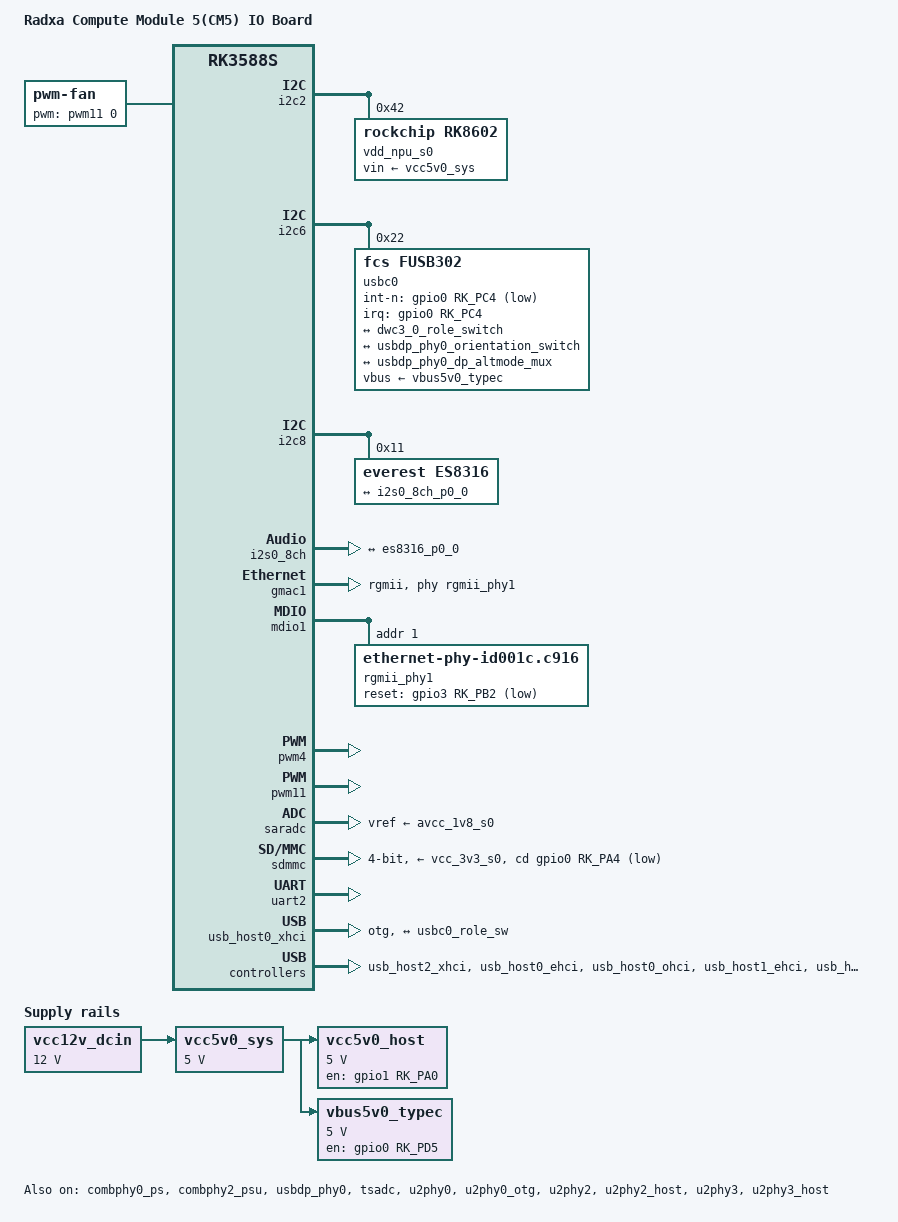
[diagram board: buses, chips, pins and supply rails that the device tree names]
// SPDX-License-Identifier: (GPL-2.0+ OR MIT)

/dts-v1/;

#include <dt-bindings/gpio/gpio.h>
#include <dt-bindings/leds/common.h>
#include <dt-bindings/pinctrl/rockchip.h>
#include "dt-bindings/usb/pd.h"
#include "rk3588s-radxa-cm5.dtsi"

/ {
	model = "Radxa Compute Module 5(CM5) IO Board";
	compatible = "radxa,cm5-io", "radxa,cm5", "rockchip,rk3588s";

	aliases {
		ethernet0 = &gmac1;
		mmc0 = &sdmmc;
		mmc1 = &sdhci;
		mmc2 = &sdio;
	};

	analog-sound {
		compatible = "audio-graph-card";
		label = "rk3588-es8316";

		widgets = "Microphone", "Mic Jack",
			  "Headphone", "Headphones";

		routing = "MIC2", "Mic Jack",
			  "Headphones", "HPOL",
			  "Headphones", "HPOR";

		dais = <&i2s0_8ch_p0>;
	};

	chosen {
		stdout-path = "serial2:1500000n8";
	};



	fan: pwm-fan {
		compatible = "pwm-fan";
		cooling-levels = <0 64 128 192 255>;
		pwms = <&pwm11 0 60000 0>;
		#cooling-cells = <2>;
	};

	vcc12v_dcin: vcc12v-dcin-regulator {
		compatible = "regulator-fixed";
		regulator-name = "vcc12v_dcin";
		regulator-always-on;
		regulator-boot-on;
		regulator-min-microvolt = <12000000>;
		regulator-max-microvolt = <12000000>;
	};

	vcc5v0_host: vcc5v0-host-regulator {
		compatible = "regulator-fixed";
		regulator-name = "vcc5v0_host";
		regulator-boot-on;
		regulator-always-on;
		regulator-min-microvolt = <5000000>;
		regulator-max-microvolt = <5000000>;
		enable-active-high;
		gpio = <&gpio1 RK_PA0 GPIO_ACTIVE_HIGH>;
		pinctrl-names = "default";
		pinctrl-0 = <&vcc5v0_usb_host_pwren>;
		vin-supply = <&vcc5v0_sys>;
	};

	vbus5v0_typec: vbus5v0-typec {
		compatible = "regulator-fixed";
		regulator-name = "vbus5v0_typec";
		regulator-boot-on;
		regulator-always-on;
		regulator-min-microvolt = <5000000>;
		regulator-max-microvolt = <5000000>;
		enable-active-high;
		gpio = <&gpio0 RK_PD5 GPIO_ACTIVE_HIGH>;
		pinctrl-names = "default";
		pinctrl-0 = <&vbus5v0_typec_en>;
		vin-supply = <&vcc5v0_sys>;
	};

	vcc5v0_sys: vcc5v0-sys-regulator {
		compatible = "regulator-fixed";
		regulator-name = "vcc5v0_sys";
		regulator-always-on;
		regulator-boot-on;
		regulator-min-microvolt = <5000000>;
		regulator-max-microvolt = <5000000>;
		vin-supply = <&vcc12v_dcin>;
	};


};

&combphy0_ps {
	status = "okay";
};

&combphy2_psu {
	status = "okay";
};


&i2c2 {
	status = "okay";
	vdd_npu_s0: regulator@42 {
		compatible = "rockchip,rk8602";
		reg = <0x42>;
		fcs,suspend-voltage-selector = <1>;
		regulator-name = "vdd_npu_s0";
		regulator-always-on;
		regulator-boot-on;
		regulator-min-microvolt = <550000>;
		regulator-max-microvolt = <950000>;
		regulator-ramp-delay = <2300>;
		vin-supply = <&vcc5v0_sys>;

		regulator-state-mem {
			regulator-off-in-suspend;
		};
	};
};


&i2c6 {
	status = "okay";
	pinctrl-names = "default";
	pinctrl-0 = <&i2c6m3_xfer>;

	usbc0: fusb302@22 {
		compatible = "fcs,fusb302";
		reg = <0x22>;
		interrupt-parent = <&gpio0>;
		interrupts = <RK_PC4 IRQ_TYPE_LEVEL_LOW>;
		int-n-gpios = <&gpio0 RK_PC4 GPIO_ACTIVE_LOW>;
		pinctrl-names = "default";
		pinctrl-0 = <&usbc0_int>;
		vbus-supply = <&vbus5v0_typec>;
		status = "okay";

		ports {
			#address-cells = <1>;
			#size-cells = <0>;
			port@0 {
			reg = <0>;
			usbc0_role_sw: endpoint@0 {
				remote-endpoint = <&dwc3_0_role_switch>;
				};
			};
		};

		usb_con: connector {
			compatible = "usb-c-connector";
			label = "USB-C";
			data-role = "dual";
			power-role = "dual";
			try-power-role = "sink";
			op-sink-microwatt = <1000000>;

			sink-pdos = <PDO_FIXED(5000, 1000, PDO_FIXED_USB_COMM)>;

			source-pdos = <PDO_FIXED(5000, 3000, PDO_FIXED_USB_COMM)>;

			altmodes {
				#address-cells = <1>;
				#size-cells = <0>;

				altmode@0 {
					reg = <0>;
					svid = <0xff01>;
					vdo = <0xffffffff>;
				};
			};

			ports {
				#address-cells = <1>;
				#size-cells = <0>;

				port@0 {
					reg = <0>;
					usbc0_orien_sw: endpoint {
						remote-endpoint = <&usbdp_phy0_orientation_switch>;
					};
				};

				port@1 {
					reg = <1>;
					dp_altmode_mux: endpoint {
						remote-endpoint = <&usbdp_phy0_dp_altmode_mux>;
					};
				};
			};
		};
	};
};

&usbdp_phy0 {
	status = "okay";
	orientation-switch;
	svid = <0xff01>;
	sbu1-dc-gpios = <&gpio3 RK_PC4 GPIO_ACTIVE_HIGH>;
	sbu2-dc-gpios = <&gpio3 RK_PD4 GPIO_ACTIVE_HIGH>;

	port {
		#address-cells = <1>;
		#size-cells = <0>;
		usbdp_phy0_orientation_switch: endpoint@0 {
			reg = <0>;
			remote-endpoint = <&usbc0_orien_sw>;
		};

		usbdp_phy0_dp_altmode_mux: endpoint@1 {
			reg = <1>;
			remote-endpoint = <&dp_altmode_mux>;
		};
	};
};




&i2c8 {
	status = "okay";
	pinctrl-0 = <&i2c8m2_xfer>;
	es8316: audio-codec@11 {
		compatible = "everest,es8316";
		reg = <0x11>;
		clocks = <&cru I2S0_8CH_MCLKOUT>;
		clock-names = "mclk";
		assigned-clocks = <&cru I2S0_8CH_MCLKOUT>;
		assigned-clock-rates = <12288000>;
		#sound-dai-cells = <0>;

		port {
			es8316_p0_0: endpoint {
				remote-endpoint = <&i2s0_8ch_p0_0>;
			};
		};
	};
};

&i2s0_8ch {
	pinctrl-names = "default";
	pinctrl-0 = <&i2s0_lrck
		     &i2s0_mclk
		     &i2s0_sclk
		     &i2s0_sdi0
		     &i2s0_sdo0>;
	status = "okay";

	i2s0_8ch_p0: port {
		i2s0_8ch_p0_0: endpoint {
			dai-format = "i2s";
			mclk-fs = <256>;
			remote-endpoint = <&es8316_p0_0>;
		};
	};
};

// TODO: What is this
&gmac1 {
	clock_in_out = "output";
	phy-handle = <&rgmii_phy1>;
	phy-mode = "rgmii";
	pinctrl-0 = <&gmac1_miim
		     &gmac1_tx_bus2
		     &gmac1_rx_bus2
		     &gmac1_rgmii_clk
		     &gmac1_rgmii_bus>;
	pinctrl-names = "default";
	tx_delay = <0x41>;
	rx_delay = <0x3a>;
	status = "okay";
};

// TODO phy actually lives on cm5
&mdio1 {
	rgmii_phy1: ethernet-phy@1 {
		/* RTL8211F */
		compatible = "ethernet-phy-id001c.c916";
		reg = <0x1>;
		pinctrl-names = "default";
		pinctrl-0 = <&rtl8211f_rst>;
		reset-assert-us = <20000>;
		reset-deassert-us = <100000>;
		reset-gpios = <&gpio3 RK_PB2 GPIO_ACTIVE_LOW>;
	};
};

&pinctrl {


	fusb302 {
		vbus5v0_typec_en: vbus5v0-typec-en {
			rockchip,pins = <0 RK_PD5 RK_FUNC_GPIO &pcfg_pull_none>;
		};

		usbc0_int: usbc0-int {
			rockchip,pins = <0 RK_PC4 RK_FUNC_GPIO &pcfg_pull_up>;
		};
	};

	usb {
		vcc5v0_usb_host_pwren: vcc5v0-usb-host-pwren {
			rockchip,pins = <1 RK_PA0 RK_FUNC_GPIO &pcfg_pull_none>;
		};

		vcc5v0_typec5v_pwren: vcc5v0-typec5v-pwren {
			rockchip,pins = <0 RK_PD5 RK_FUNC_GPIO &pcfg_pull_none>;
		};
	};

	wifibt {
		wl_reset: wl-reset {
			rockchip,pins = <0 RK_PD0 RK_FUNC_GPIO &pcfg_pull_up>;
		};

		wl_dis: wl-dis {
			rockchip,pins = <0 RK_PD5 RK_FUNC_GPIO &pcfg_output_high>;
		};

		wl_wake_host: wl-wake-host {
			rockchip,pins = <0 RK_PC7 RK_FUNC_GPIO &pcfg_pull_up>;
		};

		bt_dis: bt-dis {
			rockchip,pins = <0 RK_PD4 RK_FUNC_GPIO &pcfg_output_high>;
		};

		bt_wake_host: bt-wake-host {
			rockchip,pins = <0 RK_PC5 RK_FUNC_GPIO &pcfg_pull_up>;
		};
	};
	
	rtl8211f {
		rtl8211f_rst: rtl8211f-rst {
			rockchip,pins = <3 RK_PB2 RK_FUNC_GPIO &pcfg_pull_none>;
		};
	};
};

&pwm4 {
	pinctrl-names = "default";
	pinctrl-0 = <&pwm4m0_pins>;
	status = "okay";
};

&pwm11 {
	pinctrl-names = "default";
	pinctrl-0 = <&pwm11m3_pins>;
	status = "okay";
};

&saradc {
	vref-supply = <&avcc_1v8_s0>;
	status = "okay";
};


&sdmmc {
	bus-width = <4>;
	cap-mmc-highspeed;
	cap-sd-highspeed;
	cd-gpios = <&gpio0 RK_PA4 GPIO_ACTIVE_LOW>;
	disable-wp;
	max-frequency = <150000000>;
	no-sdio;
	no-mmc;
	sd-uhs-sdr104;
	vmmc-supply = <&vcc_3v3_s0>;
	vqmmc-supply = <&vccio_sd_s0>;
	//pinctrl-names = "default";
	//pinctrl-0 = <&sdmmc_bus4 &sdmmc_clk &sdmmc_cmd &sdmmc_det>;
	status = "okay";
};


&tsadc {
	status = "okay";
};

&u2phy0 {
	status = "okay";
};

&u2phy0_otg {
	status = "okay";
};

&u2phy2 {
	status = "okay";
};

&u2phy2_host {
	status = "okay";
	phy-supply = <&vcc5v0_host>;
};

&u2phy3 {
	status = "okay";
};

&u2phy3_host {
	phy-supply = <&vcc5v0_host>;
	status = "okay";
};

&uart2 {
	pinctrl-0 = <&uart2m0_xfer>;
	status = "okay";
};

&usbdp_phy0 {
	status = "okay";
	rockchip,dp-lane-mux = <2 3>;
};

&usb_host0_xhci {
	dr_mode = "otg";
	status = "okay";

	usb-role-switch;
	maximum-speed = "high-speed";
	port {
		#address-cells = <1>;
		#size-cells = <0>;
		dwc3_0_role_switch: endpoint@0 {
			reg = <0>;
			remote-endpoint = <&usbc0_role_sw>;
		};
	};
};

&usb_host2_xhci {
	status = "okay";
};

&usb_host0_ehci {
	status = "okay";
};

&usb_host0_ohci {
	status = "okay";
};

&usb_host1_ehci {
	status = "okay";
};

&usb_host1_ohci {
	status = "okay";
};

